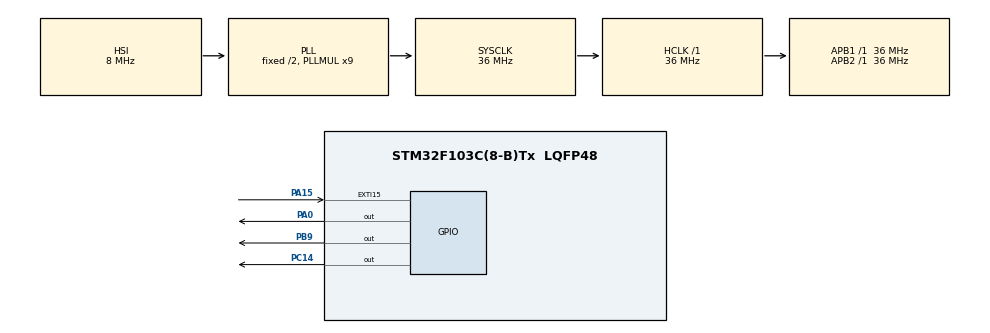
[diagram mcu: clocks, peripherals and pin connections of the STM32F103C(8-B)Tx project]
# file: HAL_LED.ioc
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Mcu.Family=STM32F1
Mcu.Name=STM32F103C(8-B)Tx
Mcu.Package=LQFP48
NVIC.EXTI15_10_IRQn=true\:0\:0\:false\:false\:true\:true\:true\:true
NVIC.PriorityGroup=NVIC_PRIORITYGROUP_4
PA0-WKUP.Signal=GPIO_Output
PA13.Mode=Serial_Wire
PA13.Signal=SYS_JTMS-SWDIO
PA14.Mode=Serial_Wire
PA14.Signal=SYS_JTCK-SWCLK
PA15.GPIO_ModeDefaultEXTI=GPIO_MODE_IT_RISING_FALLING
PA15.Signal=GPXTI15
PB9.Signal=GPIO_Output
PC14-OSC32_IN.Signal=GPIO_Output
PD0-OSC_IN.Mode=HSE-External-Oscillator
PD0-OSC_IN.Signal=RCC_OSC_IN
PD1-OSC_OUT.Mode=HSE-External-Oscillator
PD1-OSC_OUT.Signal=RCC_OSC_OUT
ProjectManager.HeapSize=0x200
ProjectManager.StackSize=0x400
ProjectManager.TargetToolchain=MDK-ARM V5.32
RCC.AHBFreq_Value=36000000
RCC.APB1Freq_Value=36000000
RCC.APB1TimFreq_Value=36000000
RCC.APB2Freq_Value=36000000
RCC.APB2TimFreq_Value=36000000
RCC.HCLKFreq_Value=36000000
RCC.PLLMUL=RCC_PLL_MUL9
RCC.SYSCLKFreq_VALUE=36000000
RCC.SYSCLKSource=RCC_SYSCLKSOURCE_PLLCLK
RCC.USBFreq_Value=36000000
board=custom

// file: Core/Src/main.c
/* USER CODE BEGIN Header */
/**
  ******************************************************************************
  * @file           : main.c
  * @brief          : Main program body
  ******************************************************************************
  * @attention
  *
  * Copyright (c) 2025 STMicroelectronics.
  * All rights reserved.
  *
  * This software is licensed under terms that can be found in the LICENSE file
  * in the root directory of this software component.
  * If no LICENSE file comes with this software, it is provided AS-IS.
  *
  ******************************************************************************
  */
/* USER CODE END Header */
#include "main.h"
#include "gpio.h"

void SystemClock_Config(void);

int main(void)
{
  /* USER CODE BEGIN 1 */
extern uint16_t flag;
  /* USER CODE END 1 */

  /* MCU Configuration--------------------------------------------------------*/

  /* Reset of all peripherals, Initializes the Flash interface and the Systick. */
  HAL_Init();

  /* Configure the system clock */
  SystemClock_Config();

  /* Initialize all configured peripherals */
  MX_GPIO_Init();

  /* Infinite loop */
  while (1)
  {

    /* USER CODE BEGIN 3 */
		if(flag==1){
    HAL_GPIO_WritePin(GPIOA,GPIO_PIN_0,GPIO_PIN_RESET);//把A0变为低电位，其余变高
    HAL_GPIO_WritePin(GPIOB,GPIO_PIN_9,GPIO_PIN_SET);
    HAL_GPIO_WritePin(GPIOC,GPIO_PIN_14,GPIO_PIN_SET);
    HAL_Delay(1000);
		}

		if(flag==1){
    HAL_GPIO_WritePin(GPIOA,GPIO_PIN_0,GPIO_PIN_SET);//把B9变为低电位，其余变高
    HAL_GPIO_WritePin(GPIOB,GPIO_PIN_9,GPIO_PIN_RESET);
    HAL_GPIO_WritePin(GPIOC,GPIO_PIN_14,GPIO_PIN_SET);
    HAL_Delay(1000);
		}

		if(flag==1){
    HAL_GPIO_WritePin(GPIOA,GPIO_PIN_0,GPIO_PIN_SET);//把C15变为低电位，其余变高
    HAL_GPIO_WritePin(GPIOB,GPIO_PIN_9,GPIO_PIN_SET);
    HAL_GPIO_WritePin(GPIOC,GPIO_PIN_14,GPIO_PIN_RESET);
    HAL_Delay(1000);
		}
   }
 }
  /* USER CODE END 3 */

void SystemClock_Config(void)
{
  RCC_OscInitTypeDef RCC_OscInitStruct = {0};
  RCC_ClkInitTypeDef RCC_ClkInitStruct = {0};

  /** Initializes the RCC Oscillators according to the specified parameters
  * in the RCC_OscInitTypeDef structure.
  */
  RCC_OscInitStruct.OscillatorType = RCC_OSCILLATORTYPE_HSI;
  RCC_OscInitStruct.HSIState = RCC_HSI_ON;
  RCC_OscInitStruct.HSICalibrationValue = RCC_HSICALIBRATION_DEFAULT;
  RCC_OscInitStruct.PLL.PLLState = RCC_PLL_ON;
  RCC_OscInitStruct.PLL.PLLSource = RCC_PLLSOURCE_HSI_DIV2;
  RCC_OscInitStruct.PLL.PLLMUL = RCC_PLL_MUL9;
  if (HAL_RCC_OscConfig(&RCC_OscInitStruct) != HAL_OK)
  {
    Error_Handler();
  }

  /** Initializes the CPU, AHB and APB buses clocks
  */
  RCC_ClkInitStruct.ClockType = RCC_CLOCKTYPE_HCLK|RCC_CLOCKTYPE_SYSCLK
                              |RCC_CLOCKTYPE_PCLK1|RCC_CLOCKTYPE_PCLK2;
  RCC_ClkInitStruct.SYSCLKSource = RCC_SYSCLKSOURCE_PLLCLK;
  RCC_ClkInitStruct.AHBCLKDivider = RCC_SYSCLK_DIV1;
  RCC_ClkInitStruct.APB1CLKDivider = RCC_HCLK_DIV1;
  RCC_ClkInitStruct.APB2CLKDivider = RCC_HCLK_DIV1;

  if (HAL_RCC_ClockConfig(&RCC_ClkInitStruct, FLASH_LATENCY_1) != HAL_OK)
  {
    Error_Handler();
  }
}

void Error_Handler(void)
{
  __disable_irq();
  while (1)
  {
  }
}
